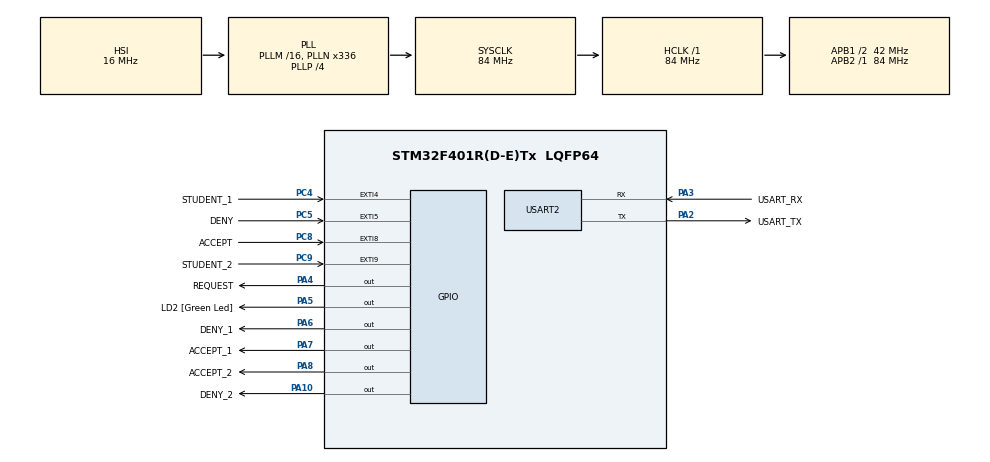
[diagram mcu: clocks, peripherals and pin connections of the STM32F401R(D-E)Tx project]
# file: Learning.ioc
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Mcu.Family=STM32F4
Mcu.Name=STM32F401R(D-E)Tx
Mcu.Package=LQFP64
NVIC.EXTI4_IRQn=true\:0\:0\:false\:false\:true\:true\:true\:true
NVIC.EXTI9_5_IRQn=true\:0\:0\:false\:false\:true\:true\:true\:true
NVIC.PriorityGroup=NVIC_PRIORITYGROUP_0
NVIC.RCC_IRQn=true\:0\:0\:false\:false\:true\:true\:false\:true
PA10.GPIO_Label=DENY_2
PA10.Signal=GPIO_Output
PA13.GPIO_Label=TMS
PA13.Mode=Serial_Wire
PA13.Signal=SYS_JTMS-SWDIO
PA14.GPIO_Label=TCK
PA14.Mode=Serial_Wire
PA14.Signal=SYS_JTCK-SWCLK
PA2.GPIO_Label=USART_TX
PA2.GPIO_Mode=GPIO_MODE_AF_PP
PA2.GPIO_PuPd=GPIO_NOPULL
PA2.GPIO_Speed=GPIO_SPEED_FREQ_LOW
PA2.Mode=Asynchronous
PA2.Signal=USART2_TX
PA3.GPIO_Label=USART_RX
PA3.GPIO_Mode=GPIO_MODE_AF_PP
PA3.GPIO_PuPd=GPIO_NOPULL
PA3.GPIO_Speed=GPIO_SPEED_FREQ_LOW
PA3.Mode=Asynchronous
PA3.Signal=USART2_RX
PA4.GPIO_Label=REQUEST
PA4.Signal=GPIO_Output
PA5.GPIO_Label=LD2 [Green Led]
PA5.GPIO_Mode=GPIO_MODE_OUTPUT_PP
PA5.GPIO_PuPd=GPIO_NOPULL
PA5.GPIO_Speed=GPIO_SPEED_FREQ_LOW
PA5.Signal=GPIO_Output
PA6.GPIO_Label=DENY_1
PA6.Signal=GPIO_Output
PA7.GPIO_Label=ACCEPT_1
PA7.Signal=GPIO_Output
PA8.GPIO_Label=ACCEPT_2
PA8.Signal=GPIO_Output
PB3.GPIO_Label=SWO
PB3.Signal=SYS_JTDO-SWO
PC14-OSC32_IN.Mode=LSE-External-Oscillator
PC14-OSC32_IN.Signal=RCC_OSC32_IN
PC15-OSC32_OUT.Mode=LSE-External-Oscillator
PC15-OSC32_OUT.Signal=RCC_OSC32_OUT
PC4.GPIO_Label=STUDENT_1
PC4.GPIO_PuPd=GPIO_PULLDOWN
PC4.Signal=GPXTI4
PC5.GPIO_Label=DENY
PC5.GPIO_PuPd=GPIO_PULLDOWN
PC5.Signal=GPXTI5
PC8.GPIO_Label=ACCEPT
PC8.GPIO_PuPd=GPIO_PULLDOWN
PC8.Signal=GPXTI8
PC9.GPIO_Label=STUDENT_2
PC9.GPIO_PuPd=GPIO_PULLDOWN
PC9.Signal=GPXTI9
PH0\ -\ OSC_IN.Mode=HSE-External-Clock-Source
PH0\ -\ OSC_IN.Signal=RCC_OSC_IN
PH1\ -\ OSC_OUT.Mode=HSE-External-Clock-Source
PH1\ -\ OSC_OUT.Signal=RCC_OSC_OUT
ProjectManager.HeapSize=0x200
ProjectManager.StackSize=0x400
ProjectManager.TargetToolchain=STM32CubeIDE
RCC.48MHZClocksFreq_Value=48000000
RCC.AHBFreq_Value=84000000
RCC.APB1CLKDivider=RCC_HCLK_DIV2
RCC.APB1Freq_Value=42000000
RCC.APB1TimFreq_Value=84000000
RCC.APB2Freq_Value=84000000
RCC.APB2TimFreq_Value=84000000
RCC.CortexFreq_Value=84000000
RCC.HCLKFreq_Value=84000000
RCC.HSE_VALUE=8000000
RCC.HSI_VALUE=16000000
RCC.PLLN=336
RCC.PLLP=RCC_PLLP_DIV4
RCC.PLLQ=7
RCC.SYSCLKFreq_VALUE=84000000
RCC.SYSCLKSource=RCC_SYSCLKSOURCE_PLLCLK
RCC.VCOOutputFreq_Value=336000000
USART2.VirtualMode=VM_ASYNC
board=NUCLEO-F401RE

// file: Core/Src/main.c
/* USER CODE BEGIN Header */
/**
  ******************************************************************************
  * @file           : main.c
  * @brief          : Main program body
  ******************************************************************************
  * @attention
  *
  * Copyright (c) 2024 STMicroelectronics.
  * All rights reserved.
  *
  * This software is licensed under terms that can be found in the LICENSE file
  * in the root directory of this software component.
  * If no LICENSE file comes with this software, it is provided AS-IS.
  *
  ******************************************************************************
  */
/* USER CODE END Header */
#include "main.h"

UART_HandleTypeDef huart2;

/* USER CODE BEGIN PV */
int student_flag;
int skip;
int accept;
int deny;
/* USER CODE END PV */

void SystemClock_Config(void);
static void MX_GPIO_Init(void);
static void MX_USART2_UART_Init(void);

int main(void)
{

  /* USER CODE BEGIN 1 */
	student_flag = 0;
	accept = 0;
	deny = 0;
	skip = 0;
  /* USER CODE END 1 */

  /* MCU Configuration--------------------------------------------------------*/

  /* Reset of all peripherals, Initializes the Flash interface and the Systick. */
  HAL_Init();

  /* Configure the system clock */
  SystemClock_Config();

  /* Initialize all configured peripherals */
  MX_GPIO_Init();
  MX_USART2_UART_Init();

  /* Infinite loop */
  /* USER CODE BEGIN WHILE */
  while (1)
  {
	  HAL_Delay(100);
	  while(student_flag == 0);
	  if(student_flag == 1){
		  student_flag = 0;
		  while(deny == 0){
			  if(accept == 1){
				  HAL_GPIO_WritePin(GPIOA, GPIO_PIN_6, GPIO_PIN_SET);
				  HAL_Delay(5);
				  HAL_GPIO_WritePin(GPIOA, GPIO_PIN_6, GPIO_PIN_RESET);
			  }
		  }
		  HAL_GPIO_WritePin(GPIOA, GPIO_PIN_7, GPIO_PIN_SET);
		  HAL_Delay(5);
		  HAL_GPIO_WritePin(GPIOA, GPIO_PIN_7, GPIO_PIN_RESET);
		  if(student_flag == 0){
			  HAL_GPIO_WritePin(GPIOA, GPIO_PIN_4, GPIO_PIN_RESET);
		  }
		  deny = 0;
		  accept = 0;
	  }
	  if(student_flag == 2){
		  student_flag = 0;
		  while(deny == 0){
			  if(accept == 1){
				  HAL_GPIO_WritePin(GPIOA, GPIO_PIN_10, GPIO_PIN_SET);
				  HAL_Delay(5);
				  HAL_GPIO_WritePin(GPIOA, GPIO_PIN_10, GPIO_PIN_RESET);
			  }
		  }
		  HAL_GPIO_WritePin(GPIOA, GPIO_PIN_8, GPIO_PIN_SET);
		  HAL_Delay(5);
		  HAL_GPIO_WritePin(GPIOA, GPIO_PIN_8, GPIO_PIN_RESET);
		  if(student_flag == 0){
			  HAL_GPIO_WritePin(GPIOA, GPIO_PIN_4, GPIO_PIN_RESET);
		  }
		  deny = 0;
		  accept = 0;
	  }

    /* USER CODE END WHILE */

  }
}

void SystemClock_Config(void)
{
  RCC_OscInitTypeDef RCC_OscInitStruct = {0};
  RCC_ClkInitTypeDef RCC_ClkInitStruct = {0};

  /** Configure the main internal regulator output voltage
  */
  __HAL_RCC_PWR_CLK_ENABLE();
  __HAL_PWR_VOLTAGESCALING_CONFIG(PWR_REGULATOR_VOLTAGE_SCALE2);

  /** Initializes the RCC Oscillators according to the specified parameters
  * in the RCC_OscInitTypeDef structure.
  */
  RCC_OscInitStruct.OscillatorType = RCC_OSCILLATORTYPE_HSI;
  RCC_OscInitStruct.HSIState = RCC_HSI_ON;
  RCC_OscInitStruct.HSICalibrationValue = RCC_HSICALIBRATION_DEFAULT;
  RCC_OscInitStruct.PLL.PLLState = RCC_PLL_ON;
  RCC_OscInitStruct.PLL.PLLSource = RCC_PLLSOURCE_HSI;
  RCC_OscInitStruct.PLL.PLLM = 16;
  RCC_OscInitStruct.PLL.PLLN = 336;
  RCC_OscInitStruct.PLL.PLLP = RCC_PLLP_DIV4;
  RCC_OscInitStruct.PLL.PLLQ = 7;
  if (HAL_RCC_OscConfig(&RCC_OscInitStruct) != HAL_OK)
  {
    Error_Handler();
  }

  /** Initializes the CPU, AHB and APB buses clocks
  */
  RCC_ClkInitStruct.ClockType = RCC_CLOCKTYPE_HCLK|RCC_CLOCKTYPE_SYSCLK
                              |RCC_CLOCKTYPE_PCLK1|RCC_CLOCKTYPE_PCLK2;
  RCC_ClkInitStruct.SYSCLKSource = RCC_SYSCLKSOURCE_PLLCLK;
  RCC_ClkInitStruct.AHBCLKDivider = RCC_SYSCLK_DIV1;
  RCC_ClkInitStruct.APB1CLKDivider = RCC_HCLK_DIV2;
  RCC_ClkInitStruct.APB2CLKDivider = RCC_HCLK_DIV1;

  if (HAL_RCC_ClockConfig(&RCC_ClkInitStruct, FLASH_LATENCY_2) != HAL_OK)
  {
    Error_Handler();
  }
}

static void MX_USART2_UART_Init(void)
{

  huart2.Instance = USART2;
  huart2.Init.BaudRate = 115200;
  huart2.Init.WordLength = UART_WORDLENGTH_8B;
  huart2.Init.StopBits = UART_STOPBITS_1;
  huart2.Init.Parity = UART_PARITY_NONE;
  huart2.Init.Mode = UART_MODE_TX_RX;
  huart2.Init.HwFlowCtl = UART_HWCONTROL_NONE;
  huart2.Init.OverSampling = UART_OVERSAMPLING_16;
  if (HAL_UART_Init(&huart2) != HAL_OK)
  {
    Error_Handler();
  }

}

static void MX_GPIO_Init(void)
{
  GPIO_InitTypeDef GPIO_InitStruct = {0};

  /* GPIO Ports Clock Enable */
  __HAL_RCC_GPIOC_CLK_ENABLE();
  __HAL_RCC_GPIOH_CLK_ENABLE();
  __HAL_RCC_GPIOA_CLK_ENABLE();
  __HAL_RCC_GPIOB_CLK_ENABLE();

  /*Configure GPIO pin Output Level */
  HAL_GPIO_WritePin(GPIOA, REQUEST_Pin|LD2_Pin|DENY_1_Pin|ACCEPT_1_Pin
                          |ACCEPT_2_Pin|DENY_2_Pin, GPIO_PIN_RESET);

  /*Configure GPIO pins : REQUEST_Pin LD2_Pin DENY_1_Pin ACCEPT_1_Pin
                           ACCEPT_2_Pin DENY_2_Pin */
  GPIO_InitStruct.Pin = REQUEST_Pin|LD2_Pin|DENY_1_Pin|ACCEPT_1_Pin
                          |ACCEPT_2_Pin|DENY_2_Pin;
  GPIO_InitStruct.Mode = GPIO_MODE_OUTPUT_PP;
  GPIO_InitStruct.Pull = GPIO_NOPULL;
  GPIO_InitStruct.Speed = GPIO_SPEED_FREQ_LOW;
  HAL_GPIO_Init(GPIOA, &GPIO_InitStruct);

  /*Configure GPIO pins : STUDENT_1_Pin DENY_Pin ACCEPT_Pin STUDENT_2_Pin */
  GPIO_InitStruct.Pin = STUDENT_1_Pin|DENY_Pin|ACCEPT_Pin|STUDENT_2_Pin;
  GPIO_InitStruct.Mode = GPIO_MODE_IT_RISING;
  GPIO_InitStruct.Pull = GPIO_PULLDOWN;
  HAL_GPIO_Init(GPIOC, &GPIO_InitStruct);

  /* EXTI interrupt init*/
  HAL_NVIC_SetPriority(EXTI4_IRQn, 0, 0);
  HAL_NVIC_EnableIRQ(EXTI4_IRQn);

  HAL_NVIC_SetPriority(EXTI9_5_IRQn, 0, 0);
  HAL_NVIC_EnableIRQ(EXTI9_5_IRQn);

}

/* USER CODE BEGIN 4 */
HAL_GPIO_EXTI_Callback(uint16_t pinName){
	if(pinName == STUDENT_1_Pin){
		student_flag = 1;
		HAL_GPIO_WritePin(GPIOA, GPIO_PIN_4, GPIO_PIN_SET);
	}
	if(pinName == STUDENT_2_Pin){
		student_flag = 2;
		HAL_GPIO_WritePin(GPIOA, GPIO_PIN_4, GPIO_PIN_SET);
	}
	if(pinName == DENY_Pin){
		deny = 1;
		accept = 0;
	}
	if(pinName == ACCEPT_Pin){
		accept = 1;
		deny = 0;
	}
}
/* USER CODE END 4 */

void Error_Handler(void)
{
  __disable_irq();
  while (1)
  {
  }
}
